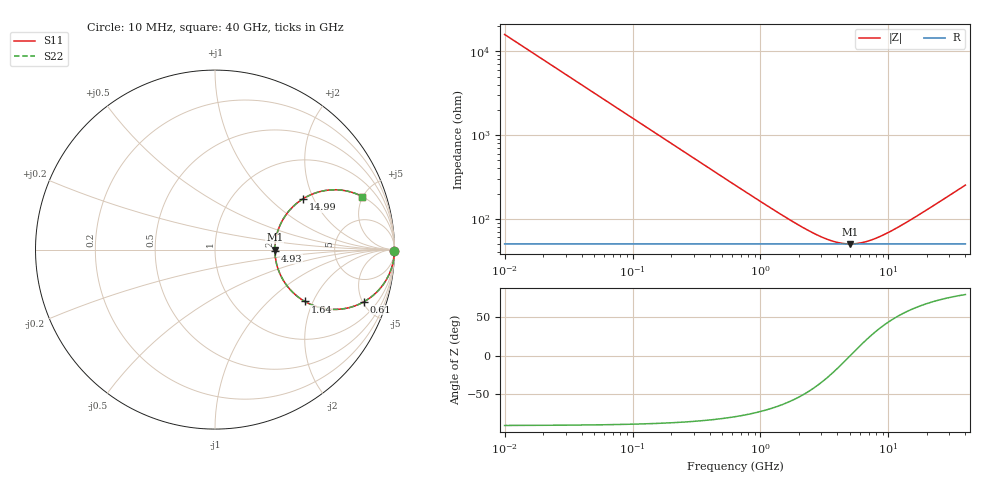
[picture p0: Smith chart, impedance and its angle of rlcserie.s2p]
! Generated by SPUtility circuit solver
# GHZ S RI R 50
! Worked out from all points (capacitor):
!   4000 points, 10 MHz to 40 GHz, reference 50 ohm
!   read as one part in series: C = 1 pF near 210 MHz
!   lowest |Z| = 50 ohm at 5.03 GHz (marker M1)
!   series resonance near 5.033 GHz, so ESL is about 1 nH
!   S11 on the Smith chart (normalised r, x): 10 MHz: open; 610 MHz: 2.00, -5.14; 1.64 GHz: 2.00, -1.73; 4.93 GHz: 2.00, -0.03; 14.99 GHz: 2.00, +1.67; 40 GHz: 2.00, +4.95
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0.01  0.9999 -0.00628  5.92e-05 0.00628  5.92e-05 0.00628  0.9999 -0.00628
0.11  0.9929 -0.0684  0.0071 0.0684  0.0071 0.0684  0.9929 -0.0684
0.22  0.9724 -0.1328  0.0276 0.1328  0.0276 0.1328  0.9724 -0.1328
0.27  0.9592 -0.1597  0.0408 0.1597  0.0408 0.1597  0.9592 -0.1597
0.33  0.9407 -0.1897  0.0593 0.1897  0.0593 0.1897  0.9407 -0.1897
0.41  0.9124 -0.2252  0.0876 0.2252  0.0876 0.2252  0.9124 -0.2252
0.61  0.8307 -0.2902  0.1693 0.2902  0.1693 0.2902  0.8307 -0.2902
0.8  0.7504 -0.3226  0.2496 0.3226  0.2496 0.3226  0.7504 -0.3226
1.02  0.6658 -0.3333  0.3342 0.3333  0.3342 0.3333  0.6658 -0.3333
1.64  0.5004 -0.2889  0.4996 0.2889  0.4996 0.2889  0.5004 -0.2889
2.3  0.4117 -0.2147  0.5883 0.2147  0.5883 0.2147  0.4117 -0.2147
3.17  0.3595 -0.1293  0.6405 0.1293  0.6405 0.1293  0.3595 -0.1293
4.93  0.3334 -0.00581  0.6666 0.00581  0.6666 0.00581  0.3334 -0.00581
5.03  0.3333 -0.000163  0.6667 0.000163  0.6667 0.000163  0.3333 -0.000163
6.68  0.3429 0.0795  0.6571 -0.0795  0.6571 -0.0795  0.3429 0.0795
9.76  0.3884 0.1835  0.6116 -0.1835  0.6116 -0.1835  0.3884 0.1835
13.34  0.4579 0.2598  0.5421 -0.2598  0.5421 -0.2598  0.4579 0.2598
14.99  0.4912 0.2834  0.5088 -0.2834  0.5088 -0.2834  0.4912 0.2834
20.01  0.5876 0.3238  0.4124 -0.3238  0.4124 -0.3238  0.5876 0.3238
26.67  0.6915 0.3324  0.3085 -0.3324  0.3085 -0.3324  0.6915 0.3324
33.34  0.7671 0.3178  0.2329 -0.3178  0.2329 -0.3178  0.7671 0.3178
40  0.8207 0.2956  0.1793 -0.2956  0.1793 -0.2956  0.8207 0.2956
